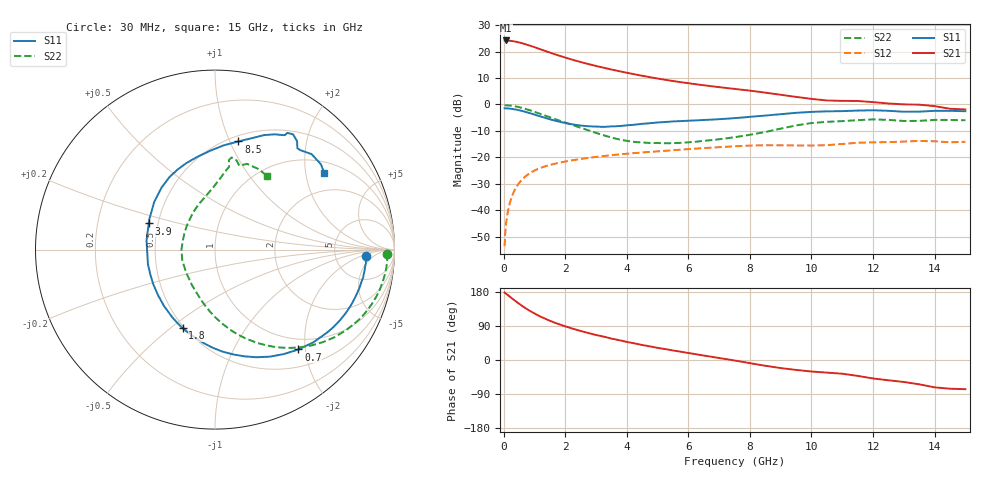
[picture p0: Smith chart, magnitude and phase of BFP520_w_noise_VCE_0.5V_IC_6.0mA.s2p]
! Infineon Technologies  Discrete & RF Semiconductors
! BFP520
! VCE =  0.5 V,  IC =  6.0 mA
! Common Emitter S-Parameters:  Oct 2015
# GHz  S  MA  R  50
!  f  S11  S21  S12  S22
! GHz  MAG  ANG  MAG  ANG  MAG  ANG  MAG  ANG
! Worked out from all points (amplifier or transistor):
!   109 points, 30 MHz to 15 GHz, reference 50 ohm
!   highest |S21| = 24.2 dB at 70 MHz (marker M1)
!   |S21| within 3 dB of that: start of sweep to 1.113 GHz
!   unconditionally stable (mu >= 1): 3.655 GHz to end of sweep
!   at 450 MHz: K = 0.16, MSG = 27.0 dB, |S12| = -30.5 dB
!   at 4 GHz: K = 1.05, MAG = 14.0 dB, |S12| = -18.6 dB
!   at 15 GHz: K = 1.39, MAG = 2.4 dB, |S12| = -14.1 dB
!   lowest NFmin = 1.26 dB at 900 MHz
!   S11 on the Smith chart (normalised r, x): 30 MHz: 11, -3; 700 MHz: 0.80, -1.87; 1.8 GHz: 0.49, -0.55; 3.9 GHz: 0.44, +0.15; 8.5 GHz: 0.55, +1.08; 15 GHz: 1.33, +2.55
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0.03  0.8437 -2.4  16.14 178.1  0.0021 91.5  0.9593 -1.4
0.07  0.844 -5.2  16.17 175.1  0.0048 87.5  0.9609 -3.7
0.08  0.8422 -5.9  16.1 174.9  0.0057 87.3  0.961 -4.2
0.25  0.8256 -18.7  15.84 163.8  0.0171 80.1  0.9447 -13.7
0.4  0.7999 -29.5  15.29 154.5  0.0267 74.3  0.9142 -21.6
0.6  0.7528 -43.4  14.32 142.8  0.0383 67.4  0.8579 -31.5
0.7  0.7252 -50.1  13.77 137.3  0.0434 64.1  0.8255 -36.3
0.9  0.6706 -62.8  12.63 127.4  0.0524 58.4  0.7586 -44.7
1.2  0.5916 -80.4  10.99 114.4  0.0632 51.4  0.6604 -55.8
1.5  0.5248 -96.9  9.555 103.6  0.0719 46.1  0.5732 -65.4
1.8  0.4739 -112.3  8.351 94.4  0.079 41.8  0.4981 -73.9
2.2  0.4242 -131.9  7.085 83.7  0.0874 37.2  0.4155 -84.3
2.6  0.3945 -150.5  6.101 74.4  0.0949 33.2  0.3469 -94.6
3  0.3823 -167.8  5.33 66.0  0.1019 29.6  0.2898 -105.8
3.9  0.3968 158.5  4.077 49.6  0.1158 21.9  0.2097 -137.3
5.1  0.4599 128.8  3.019 30.7  0.1311 13.0  0.1858 177.3
6.4  0.5048 109.3  2.342 13.1  0.1483 3.5  0.2019 142.7
7.6  0.5565 91.3  1.936 -2.7  0.1628 -6.2  0.2451 118.1
8.5  0.6163 77.8  1.67 -15.2  0.1694 -14.8  0.3015 99.9
10.5  0.74 59.6  1.188 -33.3  0.1699 -25.9  0.4689 80.3
13  0.7276 50.9  1.003 -58.0  0.1988 -44.8  0.4868 73.8
15  0.744 35.1  0.804 -77.0  0.1969 -60.1  0.5035 54.9
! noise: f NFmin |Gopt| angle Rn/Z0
0.45  1.29  0.43  2  0.31
0.9  1.26  0.42  9  0.32
1.9  1.48  0.36  20  0.28
2.4  1.51  0.32  32  0.27
3.5  1.45  0.29  55  0.26
